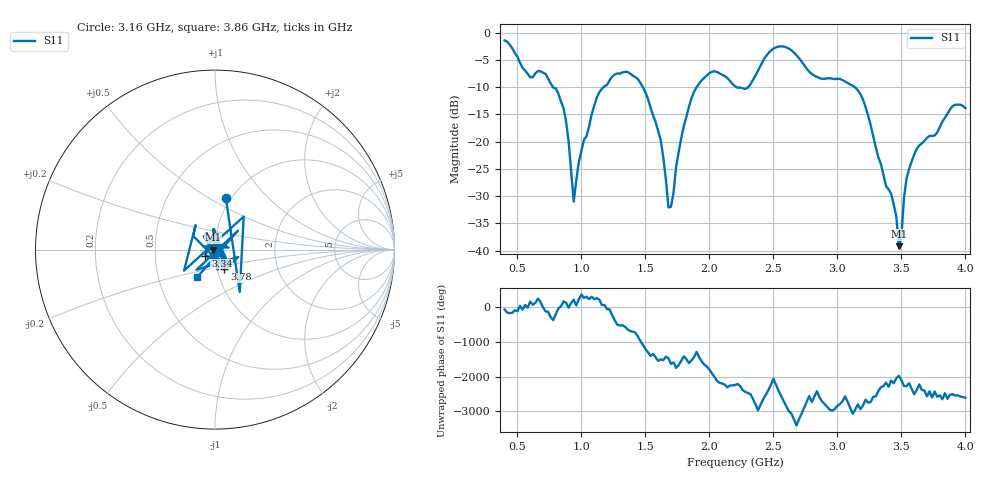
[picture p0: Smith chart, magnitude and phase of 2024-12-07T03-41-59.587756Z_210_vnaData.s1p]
!Created with skrf (http://scikit-rf.org).
# Hz S RI R 50.0
!freq ReS11 ImS11
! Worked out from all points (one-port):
!   181 points, 400 MHz to 4 GHz, reference 50 ohm
!   lowest |S11| = -39.2 dB at 3.48 GHz (marker M1), VSWR 1.02, Z = 48.9 - j0.00511 ohm
!   |S11| at or under -10 dB: 778.4 MHz to 1.172 GHz (393.5 MHz wide, 40.4 % of centre); 1.48 GHz to 1.9 GHz (419.6 MHz wide, 24.8 % of centre); 3.138 GHz to end of sweep (the widest 3 of 4)
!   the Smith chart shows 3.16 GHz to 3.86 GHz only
!   S11 on the Smith chart (normalised r, x): 3.16 GHz: 0.94, +0.60; 3.34 GHz: 0.90, -0.06; 3.78 GHz: 1.08, -0.24; 3.86 GHz: 0.79, -0.25
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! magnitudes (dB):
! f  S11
! 400 MHz  -1.4
! 600 MHz  -8.2
! 720 MHz  -7.6
! 860 MHz  -13.8
! 900 MHz  -19.9
! 940 MHz  -31.0
! 980 MHz  -23.7
! 1.12 GHz  -11.9
! 1.3 GHz  -7.5
! 1.52 GHz  -12.1
! 1.62 GHz  -19.8
! 1.68 GHz  -32.1
! 1.76 GHz  -21.9
! 1.86 GHz  -12.0
! 1.94 GHz  -8.7
! 2.2 GHz  -9.8
! 2.3 GHz  -10.1
! 2.5 GHz  -2.9
! 2.66 GHz  -3.6
! 3.1 GHz  -9.5
! 3.16 GHz  -10.6
! 3.34 GHz  -24.1
! 3.46 GHz  -33.7
! 3.48 GHz  -39.2
! 3.56 GHz  -25.0
! 3.78 GHz  -18.3
! 3.86 GHz  -14.8
! 4 GHz  -13.8
